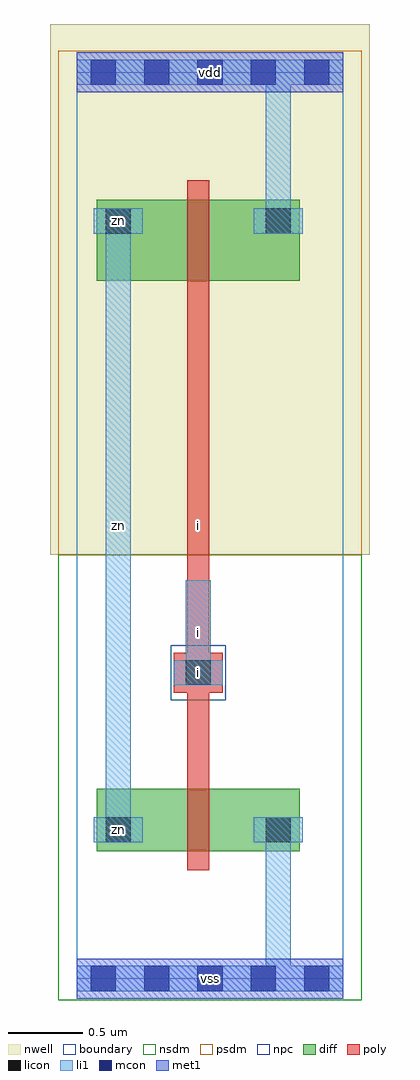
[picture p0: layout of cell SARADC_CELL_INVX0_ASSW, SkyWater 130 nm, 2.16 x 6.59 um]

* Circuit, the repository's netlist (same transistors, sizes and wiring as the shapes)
* SARADC_CELL_INVX0_ASSW (INVD0 of sky130f), cells/tools/build_cells.py
.SUBCKT SARADC_CELL_INVX0_ASSW i vdd vss zn vnw vpw
MU1_M_u2 zn i vss vpw sky130_fd_pr__nfet_01v8 l=1.500e-07 w=4.200e-07
MU1_M_u3 zn i vdd vnw sky130_fd_pr__pfet_01v8 l=1.500e-07 w=5.500e-07
.ENDS

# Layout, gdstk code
import gdstk
lib = gdstk.Library(unit=1e-6, precision=1e-09)
def R(c, l, rs):  # rectangles x0, y0, x1, y1
    for r in rs: c.add(gdstk.rectangle(r[:2], r[2:], *l))
def A(c, l, x, y, w, h, nx, ny, dx, dy):  # array of equal rectangles
    R(c, l, [(x+i*dx, y+j*dy, x+i*dx+w, y+j*dy+h) for i in range(nx) for j in range(ny)])
L0_0 = (0, 0)
nwell = (64, 20)
diff = (65, 20)
poly = (66, 20)
licon = (66, 44)
li1 = (67, 20)
mcon = (67, 44)
met1 = (68, 20)
nsdm = (93, 44)
psdm = (94, 20)
npc = (95, 20)
boundary = (235, 4)

saradc_cell_invx0_assw = lib.new_cell('SARADC_CELL_INVX0_ASSW')
R(saradc_cell_invx0_assw, nwell, [(-0.18,2.86,1.98,6.445)])
R(saradc_cell_invx0_assw, diff, [(0.135,0.86,1.505,1.28), (0.135,0.86,0.425,1.15), (1.215,0.86,1.505,1.15), (0.135,4.71,1.505,5.26), (0.135,4.97,0.425,5.26), (1.215,4.97,1.505,5.26)])
R(saradc_cell_invx0_assw, poly, [(0.745,0.73,0.895,1.41), (0.745,0.93,0.895,5.19), (0.655,1.93,0.985,2.2), (0.745,4.58,0.895,5.39)])
R(saradc_cell_invx0_assw, licon, [(0.195,0.92,0.365,1.09), (1.275,0.92,1.445,1.09), (0.735,1.98,0.905,2.15), (0.195,5.03,0.365,5.2), (1.275,5.03,1.445,5.2)])
R(saradc_cell_invx0_assw, li1, [(0,-0.085,1.8,0.085), (1.275,0.06,1.445,1.09), (0.115,0.92,0.445,1.09), (0.195,0.92,0.365,5.2), (1.195,0.92,1.525,1.09), (0.655,1.98,0.985,2.15), (0.735,1.98,0.905,2.69), (0.115,5.03,0.445,5.2), (1.195,5.03,1.525,5.2), (1.275,5.03,1.445,6.06), (0,6.035,1.8,6.205)])
A(saradc_cell_invx0_assw, mcon, 0.095, -0.085, 0.17, 0.17, 5, 2, 0.36, 6.12)
R(saradc_cell_invx0_assw, met1, [(0,-0.135,1.8,0.135), (0,5.985,1.8,6.255)])
R(saradc_cell_invx0_assw, nsdm, [(-0.125,-0.145,1.925,0.145), (-0.125,0.145,1.925,2.86)])
R(saradc_cell_invx0_assw, psdm, [(-0.125,2.86,1.925,5.975), (-0.125,5.975,1.925,6.265)])
R(saradc_cell_invx0_assw, npc, [(0.635,1.88,1.005,2.25)])
R(saradc_cell_invx0_assw, boundary, [(0,0,1.8,6.12)])
saradc_cell_invx0_assw.add(gdstk.FlexPath([(0.115,0.355),(1.525,0.355)], 0, ends="flush", simple_path=True, layer=0, datatype=0))  # L0_0
saradc_cell_invx0_assw.add(gdstk.FlexPath([(0.115,1.005),(1.525,1.005)], 0, ends="flush", simple_path=True, layer=0, datatype=0))  # L0_0
saradc_cell_invx0_assw.add(gdstk.FlexPath([(0.115,1.415),(1.525,1.415)], 0, ends="flush", simple_path=True, layer=0, datatype=0))  # L0_0
saradc_cell_invx0_assw.add(gdstk.FlexPath([(0.115,2.065),(1.525,2.065)], 0, ends="flush", simple_path=True, layer=0, datatype=0))  # L0_0
saradc_cell_invx0_assw.add(gdstk.FlexPath([(0.115,2.605),(1.525,2.605)], 0, ends="flush", simple_path=True, layer=0, datatype=0))  # L0_0
saradc_cell_invx0_assw.add(gdstk.FlexPath([(0.115,3.145),(1.525,3.145)], 0, ends="flush", simple_path=True, layer=0, datatype=0))  # L0_0
saradc_cell_invx0_assw.add(gdstk.FlexPath([(0.115,4.305),(1.525,4.305)], 0, ends="flush", simple_path=True, layer=0, datatype=0))  # L0_0
saradc_cell_invx0_assw.add(gdstk.FlexPath([(0.115,4.775),(1.525,4.775)], 0, ends="flush", simple_path=True, layer=0, datatype=0))  # L0_0
saradc_cell_invx0_assw.add(gdstk.FlexPath([(0.115,5.115),(1.525,5.115)], 0, ends="flush", simple_path=True, layer=0, datatype=0))  # L0_0
saradc_cell_invx0_assw.add(gdstk.FlexPath([(0.115,5.765),(1.525,5.765)], 0, ends="flush", simple_path=True, layer=0, datatype=0))  # L0_0
saradc_cell_invx0_assw.add(gdstk.FlexPath([(0.28,0.06),(0.28,6.06)], 0, ends="flush", simple_path=True, layer=0, datatype=0))  # L0_0
saradc_cell_invx0_assw.add(gdstk.FlexPath([(0.82,0.06),(0.82,6.06)], 0, ends="flush", simple_path=True, layer=0, datatype=0))  # L0_0
saradc_cell_invx0_assw.add(gdstk.FlexPath([(1.36,0.06),(1.36,6.06)], 0, ends="flush", simple_path=True, layer=0, datatype=0))  # L0_0
saradc_cell_invx0_assw.add(gdstk.Label('zn', (0.28,1.005), layer=65, texttype=20))
saradc_cell_invx0_assw.add(gdstk.Label('zn', (0.28,5.115), layer=65, texttype=20))
saradc_cell_invx0_assw.add(gdstk.Label('i', (0.82,3.06), layer=66, texttype=20))
saradc_cell_invx0_assw.add(gdstk.Label('i', (0.82,2.065), layer=66, texttype=20))
saradc_cell_invx0_assw.add(gdstk.Label('zn', (0.28,1.005), layer=66, texttype=44))
saradc_cell_invx0_assw.add(gdstk.Label('zn', (0.28,5.115), layer=66, texttype=44))
saradc_cell_invx0_assw.add(gdstk.Label('i', (0.82,2.065), layer=66, texttype=44))
saradc_cell_invx0_assw.add(gdstk.Label('zn', (0.28,1.005), layer=67, texttype=5))
saradc_cell_invx0_assw.add(gdstk.Label('zn', (0.28,5.115), layer=67, texttype=5))
saradc_cell_invx0_assw.add(gdstk.Label('zn', (0.28,3.06), layer=67, texttype=5))
saradc_cell_invx0_assw.add(gdstk.Label('i', (0.82,2.065), layer=67, texttype=5))
saradc_cell_invx0_assw.add(gdstk.Label('i', (0.82,2.335), layer=67, texttype=5))
saradc_cell_invx0_assw.add(gdstk.Label('vss', (0.9,0), layer=67, texttype=5))
saradc_cell_invx0_assw.add(gdstk.Label('vdd', (0.9,6.12), layer=67, texttype=5))
saradc_cell_invx0_assw.add(gdstk.Label('vss', (0.9,0), layer=68, texttype=5))
saradc_cell_invx0_assw.add(gdstk.Label('vdd', (0.9,6.12), layer=68, texttype=5))

lib.write_gds('SARADC_CELL_INVX0_ASSW.gds')
